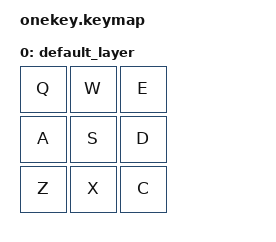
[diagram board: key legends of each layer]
#include <behaviors.dtsi>
#include <dt-bindings/zmk/keys.h>
#include <dt-bindings/zmk/bt.h>
#include <dt-bindings/zmk/outputs.h>

/ {
    keymap {
        compatible = "zmk,keymap";

        default_layer {
            bindings = <
                &kp Q    &kp W    &kp E
                &kp A    &kp S    &kp D
                &kp Z    &kp X    &kp C
            >;
        };
    };
};
